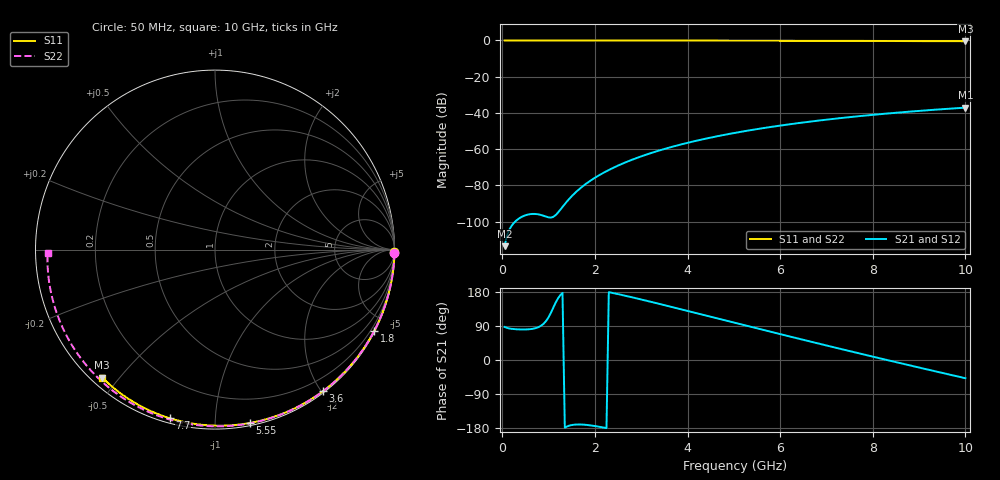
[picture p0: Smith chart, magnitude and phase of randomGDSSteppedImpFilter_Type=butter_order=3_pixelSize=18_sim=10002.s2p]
! freq	dB(S11)	phase(S11)	dB(S12)	phase(S12)
!  dB(S21)	phase(S21)	dB(S22)	phase(S22)
!S-par simulation data
#  GHz  S  DB  R 50
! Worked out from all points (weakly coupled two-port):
!   200 points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, 50 MHz to 10 GHz, reference 50 ohm
!   highest |S21| = -37.08 dB at 10 GHz (marker M1); lowest = -113.5 dB at 50 MHz (marker M2)
!   lowest |S11| = -0.4 dB at 10 GHz (marker M3), VSWR 39.13, Z = 1.54 - j22.6 ohm
!   |S11| at or under -10 dB: nowhere
!   |S22| runs from -0.6 to 0.0 dB; largest |S21 - S12| = 0
!   S11 on the Smith chart (normalised r, x): 50 MHz: open; 1.8 GHz: 0.04, -4.18; 3.6 GHz: 0.02, -2.02; 5.55 GHz: 0.02, -1.22; 7.7 GHz: 0.02, -0.77; 10 GHz: 0.03, -0.45
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0.05  -0.00 -0.8  -113.53 87.2  -113.53 87.2  -0.00 -1.0
0.45  -0.01 -6.8  -96.97 80.5  -96.97 80.5  -0.01 -9.0
0.85  -0.02 -12.8  -96.43 91.5  -96.43 91.5  -0.02 -16.9
1.3  -0.02 -19.5  -91.88 177.1  -91.88 177.1  -0.03 -25.6
1.75  -0.03 -26.2  -80.22 -170.6  -80.22 -170.6  -0.04 -34.3
1.8  -0.03 -26.9  -79.25 -171.1  -79.25 -171.1  -0.04 -35.3
2.1  -0.04 -31.3  -74.25 -176.3  -74.25 -176.3  -0.05 -41.0
2.3  -0.04 -34.2  -71.49 179.1  -71.49 179.1  -0.06 -44.8
2.5  -0.05 -37.1  -69.05 173.9  -69.05 173.9  -0.06 -48.5
2.9  -0.06 -42.8  -64.89 162.7  -64.89 162.7  -0.07 -56.0
3.4  -0.07 -49.9  -60.64 147.8  -60.64 147.8  -0.09 -65.1
3.6  -0.07 -52.6  -59.16 141.8  -59.16 141.8  -0.09 -68.7
4.3  -0.09 -62.2  -54.71 120.3  -54.71 120.3  -0.11 -81.1
5.05  -0.11 -72.2  -50.88 97.3  -50.88 97.3  -0.14 -94.1
5.55  -0.13 -78.6  -48.72 82.0  -48.72 82.0  -0.17 -102.5
6.1  -0.15 -85.6  -46.62 65.3  -46.62 65.3  -0.20 -111.7
6.7  -0.18 -93.0  -44.62 47.2  -44.62 47.2  -0.24 -121.7
7.7  -0.24 -105.0  -41.79 17.6  -41.79 17.6  -0.32 -138.3
8.35  -0.29 -112.6  -40.24 -1.3  -40.24 -1.3  -0.39 -149.2
9.2  -0.36 -122.3  -38.48 -25.6  -38.48 -25.6  -0.49 -164.1
9.6  -0.40 -126.9  -37.75 -36.9  -37.75 -36.9  -0.54 -171.4
10  -0.44 -131.4  -37.08 -48.1  -37.08 -48.1  -0.60 -178.9
